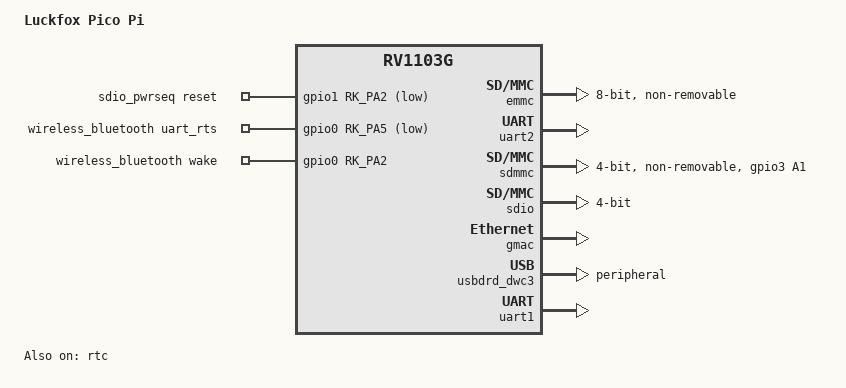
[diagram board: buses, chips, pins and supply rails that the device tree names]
// SPDX-License-Identifier: (GPL-2.0+ OR MIT)
/*
 * Copyright (c) 2022 Rockchip Electronics Co., Ltd.
 */

/dts-v1/;
#include "rv1106.dtsi"
#include "rv1106-luckfox-pico-pi-ipc.dtsi"
#include <dt-bindings/input/input.h>
#include <dt-bindings/display/media-bus-format.h>

/ {
	model = "Luckfox Pico Pi";
	compatible = "rockchip,rv1103g-38x38-ipc-v10", "rockchip,rv1106g3";

	/* UART2 is reserved for the ESP32, not the kernel debug console. */
	chosen {
		bootargs = "root=/dev/mmcblk0p7 rootwait snd_soc_core.prealloc_buffer_size_kbytes=16 coherent_pool=0";
	};

	restart-poweroff {
		compatible = "restart-poweroff";
	};

	sdio_pwrseq: sdio-pwrseq {
		compatible = "mmc-pwrseq-simple";
		pinctrl-names = "default";
		reset-gpios = <&gpio1 RK_PA2 GPIO_ACTIVE_LOW>;
	};

	wireless_bluetooth: wireless-bluetooth {
		compatible = "bluetooth-platdata";
		uart_rts_gpios = <&gpio0 RK_PA5 GPIO_ACTIVE_LOW>;
		pinctrl-names = "default", "rts_gpio";
		pinctrl-0 = <&uart1m0_rtsn>;
		pinctrl-1 = <&uart1_gpios>;
		BT,wake_gpio = <&gpio0 RK_PA2 GPIO_ACTIVE_HIGH>;
		status = "okay";
	};
};

/**********CRU**********/
//&cru {
//	assigned-clocks =
//		<&cru PLL_GPLL>, <&cru PLL_CPLL>,
//		<&cru ARMCLK>,
//		<&cru ACLK_PERI_ROOT>, <&cru HCLK_PERI_ROOT>,
//		<&cru PCLK_PERI_ROOT>, <&cru ACLK_BUS_ROOT>,
//		<&cru PCLK_TOP_ROOT>, <&cru PCLK_PMU_ROOT>,
//		<&cru HCLK_PMU_ROOT>, <&cru CLK_500M_SRC>;
//	assigned-clock-rates =
//		<1188000000>, <700000000>,
//		<1104000000>,
//		<400000000>, <200000000>,
//		<100000000>, <300000000>,
//		<100000000>, <100000000>,
//		<200000000>, <700000000>;
//};

/**********NPU**********/
//&npu {
//	assigned-clock-rates = <700000000>;
//};

/**********EMMC**********/
&emmc {
	bus-width = <8>;
	cap-mmc-highspeed;
	non-removable;
	// mmc-hs200-1_8v;
	rockchip,default-sample-phase = <90>;
	no-sdio;
	no-sd;
	memory-region-ecsd = <&mmc_ecsd>;
	post-power-on-delay-ms = <0>;
	status = "okay";
};

/* FIQ debugger and earlycon would contend with UART2 (/dev/ttyS2). */
&fiq_debugger {
	status = "disabled";
};

/* The ESP32 uses the native UART2 M1 pins on the Pico Pi. */
&uart2 {
	status = "okay";
};

&uart2m1_xfer {
	rockchip,pins =
		/* RX: GPIO1_B3; keep its existing pull-up/drive setting. */
		<1 RK_PB3 2 &pcfg_pull_up>,
		/* TX: GPIO1_B2; level 1 (4 mA), encoded as 0x03. */
		<1 RK_PB2 2 &pcfg_pull_up_drv_level_1>;
};

/**********SDIO-WIFI**********/
&sdmmc {
	max-frequency = <50000000>;
	bus-width = <4>;
	cap-sd-highspeed;
	cap-sdio-irq;
	keep-power-in-suspend;
	non-removable;
	rockchip,default-sample-phase = <90>;
	// no-sd;
	// no-mmc;
	supports-sdio;
	mmc-pwrseq = <&sdio_pwrseq>;
	pinctrl-names = "default";
	pinctrl-0 = <&sdmmc0_clk &sdmmc0_cmd &sdmmc0_bus4 &sdmmc0_det>;
	status = "okay";
};

&pinctrl{
	sdmmc0 {
		sdmmc0_det: sdmmc0-det {
			rockchip,pins =
				/* sdmmc0_det */
				<3 RK_PA1 1 &pcfg_pull_down>;
		};
	};
};

/**********SD-CARD*********/
&sdio {
	max-frequency = <50000000>;
	no-sdio;
	no-mmc;
	supports-sd;
	bus-width = <4>;
	cap-mmc-highspeed;
	cap-sd-highspeed;
	disable-wp;
	pinctrl-names = "default";
	pinctrl-0 = <&sdmmc1m0_cmd &sdmmc1m0_clk &sdmmc1m0_bus4>;
	status = "okay";
};

/**********ETH**********/
&gmac {
	status = "okay";
};

/**********USB**********/
&usbdrd_dwc3 {
	status = "okay";
	dr_mode = "peripheral";
	//dr_mode = "host";
};

/**********RTC**********/
&rtc {
	status = "okay";
};

/**********BT**********/
&uart1 {
	status = "okay";
	pinctrl-names = "default";
	pinctrl-0 = <&uart1m0_xfer &uart1m0_ctsn>;
};

&pinctrl {
	wireless-bluetooth {
		uart1_gpios: uart1-gpios {
			rockchip,pins = <0 RK_PA5 RK_FUNC_GPIO &pcfg_pull_none>;
		};
	};
};

/**********SPI**********/
&spi0 {
	status = "disabled";
	spidev@0 {
		spi-max-frequency = <50000000>;
	};
};
